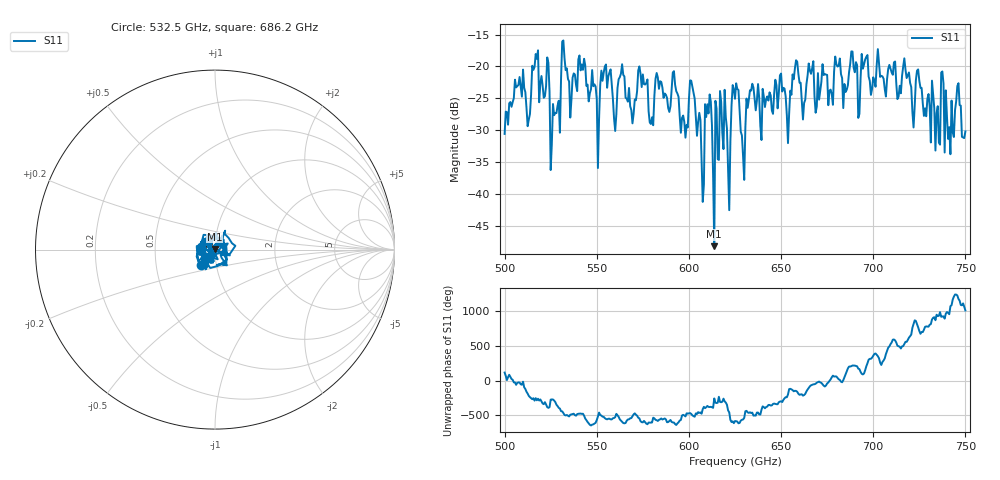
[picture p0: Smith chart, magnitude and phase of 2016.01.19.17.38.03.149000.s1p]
!Created with skrf (http://scikit-rf.org).
# GHz S RI R 50.0
!freq ReS11 ImS11
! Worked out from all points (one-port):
!   401 points, 500 GHz to 750 GHz, reference 50 ohm
!   lowest |S11| = -48.1 dB at 613.8 GHz (marker M1), VSWR 1.01, Z = 49.9 + j0.378 ohm
!   |S11| at or under -10 dB: start of sweep to end of sweep
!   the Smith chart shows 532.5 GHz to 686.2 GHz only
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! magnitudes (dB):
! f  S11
! 500 GHz  -30.6
! 506.9 GHz  -23.1
! 513.1 GHz  -28.3
! 516.9 GHz  -18.0
! 526.2 GHz  -25.9
! 531.2 GHz  -16.1
! 550 GHz  -25.1
! 562.5 GHz  -21.7
! 569.4 GHz  -28.9
! 573.8 GHz  -21.2
! 579.4 GHz  -29.0
! 583.1 GHz  -21.7
! 593.8 GHz  -24.2
! 598.1 GHz  -31.2
! 601.9 GHz  -23.2
! 606.9 GHz  -35.0
! 611.2 GHz  -24.4
! 613.8 GHz  -48.1
! 618.1 GHz  -30.4
! 621.9 GHz  -42.5
! 625 GHz  -25.1
! 629.4 GHz  -34.0
! 633.8 GHz  -23.8
! 656.2 GHz  -21.2
! 687.5 GHz  -19.6
! 718.8 GHz  -21.4
! 746.2 GHz  -22.6
! 750 GHz  -30.2
